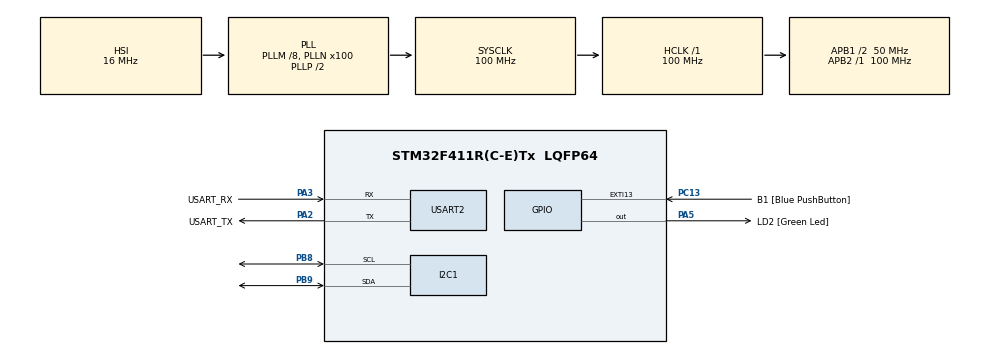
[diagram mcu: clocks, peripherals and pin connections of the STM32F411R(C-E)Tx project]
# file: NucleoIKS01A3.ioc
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I2C1.I2C_Mode=I2C_Fast
Mcu.Family=STM32F4
Mcu.Name=STM32F411R(C-E)Tx
Mcu.Package=LQFP64
NVIC.I2C1_ER_IRQn=true\:0\:0\:false\:false\:true\:true\:true\:true
NVIC.PriorityGroup=NVIC_PRIORITYGROUP_0
NVIC.TIM2_IRQn=true\:0\:0\:false\:false\:true\:true\:true\:true
PA13.GPIO_Label=TMS
PA13.Mode=Serial_Wire
PA13.Signal=SYS_JTMS-SWDIO
PA14.GPIO_Label=TCK
PA14.Mode=Serial_Wire
PA14.Signal=SYS_JTCK-SWCLK
PA2.GPIO_Label=USART_TX
PA2.Mode=Asynchronous
PA2.Signal=USART2_TX
PA3.GPIO_Label=USART_RX
PA3.Mode=Asynchronous
PA3.Signal=USART2_RX
PA5.GPIO_Label=LD2 [Green Led]
PA5.Signal=GPIO_Output
PB3.GPIO_Label=SWO
PB3.Signal=SYS_JTDO-SWO
PB8.Mode=I2C
PB8.Signal=I2C1_SCL
PB9.Mode=I2C
PB9.Signal=I2C1_SDA
PC13-ANTI_TAMP.GPIO_Label=B1 [Blue PushButton]
PC13-ANTI_TAMP.GPIO_ModeDefaultEXTI=GPIO_MODE_IT_FALLING
PC13-ANTI_TAMP.Signal=GPXTI13
PC14-OSC32_IN.Mode=LSE-External-Oscillator
PC14-OSC32_IN.Signal=RCC_OSC32_IN
PC15-OSC32_OUT.Mode=LSE-External-Oscillator
PC15-OSC32_OUT.Signal=RCC_OSC32_OUT
PH0\ -\ OSC_IN.Mode=HSE-External-Clock-Source
PH0\ -\ OSC_IN.Signal=RCC_OSC_IN
PH1\ -\ OSC_OUT.Mode=HSE-External-Clock-Source
PH1\ -\ OSC_OUT.Signal=RCC_OSC_OUT
ProjectManager.HeapSize=0x200
ProjectManager.StackSize=0x400
ProjectManager.TargetToolchain=CMake
RCC.48MHZClocksFreq_Value=50000000
RCC.AHBFreq_Value=100000000
RCC.APB1CLKDivider=RCC_HCLK_DIV2
RCC.APB1Freq_Value=50000000
RCC.APB1TimFreq_Value=100000000
RCC.APB2Freq_Value=100000000
RCC.APB2TimFreq_Value=100000000
RCC.CortexFreq_Value=100000000
RCC.FLatency-AdvancedSettings=FLASH_LATENCY_3
RCC.HCLKFreq_Value=100000000
RCC.HSE_VALUE=8000000
RCC.HSI_VALUE=16000000
RCC.PLLM=8
RCC.PLLN=100
RCC.SYSCLKFreq_VALUE=100000000
RCC.SYSCLKSource=RCC_SYSCLKSOURCE_PLLCLK
RCC.VCOOutputFreq_Value=200000000
TIM2.Prescaler=100 - 1
USART2.VirtualMode=VM_ASYNC
VP_TIM2_VS_ClockSourceINT.Mode=Internal
board=NUCLEO-F411RE

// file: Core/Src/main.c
/* USER CODE BEGIN Header */
/**
 ******************************************************************************
 * @file           : main.c
 * @brief          : Main program body
 ******************************************************************************
 * @attention
 *
 * Copyright (c) 2026 STMicroelectronics.
 * All rights reserved.
 *
 * This software is licensed under terms that can be found in the LICENSE file
 * in the root directory of this software component.
 * If no LICENSE file comes with this software, it is provided AS-IS.
 *
 ******************************************************************************
 */
/* USER CODE END Header */
#include "main.h"
#include "i2c.h"
#include "tim.h"
#include "usart.h"
#include "gpio.h"

/* USER CODE BEGIN Includes */

#include "IMU.h"
#include "Config.h"
#include "Time.h"

#include "DSP_AHRS_AQUA.h"
#include "DSP_AHRS_EKF.h"
#include "DSP_AHRS_Mahony.h"
#include "DSP_AHRS_Madgwick.h"

#include <stdio.h>
#include <stdlib.h>
#include <string.h>

/* USER CODE END Includes */

/* USER CODE BEGIN PTD */

typedef enum
{
	AHRS_FILTER_AQUA,
	AHRS_FILTER_EKF,
	AHRS_FILTER_MAHONY,
	AHRS_FILTER_MADGWICK,

	AHRS_FILTER_CNT
} AHRS_FilterType;

/* USER CODE END PTD */

/* USER CODE BEGIN PV */

static IMU_Handle himu;
static DSP_AHRS_AQUA_Instance_f32 AQUA_Filter;
static DSP_AHRS_EKF_Instance_f32 EKF_Filter;
static DSP_AHRS_DataInstance_f32 AHRS_Data;
static DSP_AHRS_Mahony_Instance_f32 Mahony_Filter;
static DSP_AHRS_Madgwick_Instance_f32 Madgwick_Filter;

static AHRS_FilterType ActiveFilter = AHRS_FILTER_AQUA;

/* USER CODE END PV */

void SystemClock_Config(void);

/* USER CODE BEGIN 0 */
void OnNewAccData(IMU_Handle* imu, uint32_t tick);
void OnNewGyroData(IMU_Handle* imu, uint32_t tick);

/* USER CODE END 0 */

int main(void)
{

	/* MCU Configuration--------------------------------------------------------*/

	/* Reset of all peripherals, Initializes the Flash interface and the Systick. */
	HAL_Init();

	/* Configure the system clock */
	SystemClock_Config();

	/* USER CODE BEGIN SysInit */

	CoreDebug->DEMCR |= CoreDebug_DEMCR_TRCENA_Msk;

	DWT->CYCCNT = 0;
	DWT->CTRL  |= DWT_CTRL_CYCCNTENA_Msk;

	/* USER CODE END SysInit */

	/* Initialize all configured peripherals */
	MX_GPIO_Init();
	MX_USART2_UART_Init();
	MX_I2C1_Init();
	MX_TIM2_Init();
	/* USER CODE BEGIN 2 */

	IMU_Init(&himu);
	IMU_CallbackSet(&himu, &OnNewAccData, &OnNewGyroData, NULL);

	// TODO: Move params to Config.h
	// clang-format off
    float gyro_noise[3 * 3] = {   // Process noise covariance
        0.01f, 0.0f, 0.0f,
        0.0f, 0.01f, 0.0f,
        0.0f, 0.0f, 0.01f
    };

    float acc_noise[3 * 3] =  {   // Process noise covariance
        0.15f, 0.0f, 0.0f,
        0.0f, 0.15f, 0.0f,
        0.0f, 0.0f, 0.15f
    };
	// clang-format on
	DSP_AHRS_EKF_InitIMU_f32(&EKF_Filter, gyro_noise, acc_noise);

	DSP_AHRS_AQUA_InitIMU_f32(&AQUA_Filter, 0.1f);

	DSP_AHRS_Mahony_Init_f32(&Mahony_Filter, 0.5f, 0.33f);

	DSP_AHRS_Madgwick_InitIMU_f32(&Madgwick_Filter, 0.033f);

	DSP_AHRS_DataInit_f32(&AHRS_Data);
	/* USER CODE END 2 */

	/* Infinite loop */
	/* USER CODE BEGIN WHILE */
	while(1)
	{
		IMU_Update(&himu, SYS_Tick_ms());

		bool b1_pressed = HAL_GPIO_ReadPin(B1_GPIO_Port, B1_Pin) == GPIO_PIN_RESET;
		if(b1_pressed)
		{
			ActiveFilter = (ActiveFilter + 1) % AHRS_FILTER_CNT;
			printf("AHRS_Filter: %d\r\n", ActiveFilter);
			HAL_Delay(500);
		}

		static uint32_t last_ahrs_tick = 0;
		if(SYS_Tick_ms() - last_ahrs_tick >= AHRS_UPDATE_INTERVAL_MS)
		{
			const uint32_t updt_start_tick = DWT->CYCCNT;
			switch(ActiveFilter)
			{
				case AHRS_FILTER_AQUA:
				{
					DSP_AHRS_AQUA_UpdateIMU_f32(&AQUA_Filter, &AHRS_Data, (AHRS_UPDATE_INTERVAL_MS / 1000.0f));
					break;
				}
				case AHRS_FILTER_EKF:
				{
					DSP_AHRS_EKF_UpdateIMU_f32(&EKF_Filter, &AHRS_Data, (AHRS_UPDATE_INTERVAL_MS / 1000.0f));
					break;
				}
				case AHRS_FILTER_MAHONY:
				{
					DSP_AHRS_Mahony_UpdateIMU_f32(&Mahony_Filter, &AHRS_Data, (AHRS_UPDATE_INTERVAL_MS / 1000.0f));
					break;
				}
				case AHRS_FILTER_MADGWICK:
				{
					DSP_AHRS_Madgwick_UpdateIMU_f32(&Madgwick_Filter, &AHRS_Data, (AHRS_UPDATE_INTERVAL_MS / 1000.0f));
					break;
				}
				default:
					break;
			}
			const uint32_t updt_end_tick = DWT->CYCCNT;

			last_ahrs_tick += AHRS_UPDATE_INTERVAL_MS;

			printf("FC_Attitude: %0.8f, %0.8f, %0.8f, %0.8f\r\n", AHRS_Data.AttitudeEstimate.r,
			  AHRS_Data.AttitudeEstimate.i, AHRS_Data.AttitudeEstimate.j, AHRS_Data.AttitudeEstimate.k);

			printf("AHRS_Updt_t: %0.8f\r\n", (float)(updt_end_tick - updt_start_tick) / SystemCoreClock * 1000.0f);
			// printf("$%0.2f %0.2f %0.2f;\r\n", AHRS_Data.GyroData[0], AHRS_Data.GyroData[1], AHRS_Data.GyroData[2]);
		}

		static uint32_t updt_cnt      = 0;
		static uint32_t last_log_tick = 0;
		const uint32_t interval_ms    = 1000;

		updt_cnt++;
		const uint32_t loop_end_tick = SYS_Tick_ms();
		if(loop_end_tick - last_log_tick >= interval_ms)
		{
			last_log_tick = loop_end_tick;

			printf("UPS: %0.2f\r\n", (float)updt_cnt / (interval_ms / 1000.0f));
			updt_cnt = 0;
		}
	}

	/* USER CODE END WHILE */

}

void SystemClock_Config(void)
{
	RCC_OscInitTypeDef RCC_OscInitStruct = {0};
	RCC_ClkInitTypeDef RCC_ClkInitStruct = {0};

	/** Configure the main internal regulator output voltage
	 */
	__HAL_RCC_PWR_CLK_ENABLE();
	__HAL_PWR_VOLTAGESCALING_CONFIG(PWR_REGULATOR_VOLTAGE_SCALE1);

	/** Initializes the RCC Oscillators according to the specified parameters
	 * in the RCC_OscInitTypeDef structure.
	 */
	RCC_OscInitStruct.OscillatorType      = RCC_OSCILLATORTYPE_HSI;
	RCC_OscInitStruct.HSIState            = RCC_HSI_ON;
	RCC_OscInitStruct.HSICalibrationValue = RCC_HSICALIBRATION_DEFAULT;
	RCC_OscInitStruct.PLL.PLLState        = RCC_PLL_ON;
	RCC_OscInitStruct.PLL.PLLSource       = RCC_PLLSOURCE_HSI;
	RCC_OscInitStruct.PLL.PLLM            = 8;
	RCC_OscInitStruct.PLL.PLLN            = 100;
	RCC_OscInitStruct.PLL.PLLP            = RCC_PLLP_DIV2;
	RCC_OscInitStruct.PLL.PLLQ            = 4;
	if(HAL_RCC_OscConfig(&RCC_OscInitStruct) != HAL_OK)
	{
		Error_Handler();
	}

	/** Initializes the CPU, AHB and APB buses clocks
	 */
	RCC_ClkInitStruct.ClockType = RCC_CLOCKTYPE_HCLK | RCC_CLOCKTYPE_SYSCLK | RCC_CLOCKTYPE_PCLK1 | RCC_CLOCKTYPE_PCLK2;
	RCC_ClkInitStruct.SYSCLKSource   = RCC_SYSCLKSOURCE_PLLCLK;
	RCC_ClkInitStruct.AHBCLKDivider  = RCC_SYSCLK_DIV1;
	RCC_ClkInitStruct.APB1CLKDivider = RCC_HCLK_DIV2;
	RCC_ClkInitStruct.APB2CLKDivider = RCC_HCLK_DIV1;

	if(HAL_RCC_ClockConfig(&RCC_ClkInitStruct, FLASH_LATENCY_3) != HAL_OK)
	{
		Error_Handler();
	}
}

/* USER CODE BEGIN 4 */

int _write(int file, char* ptr, int len)
{
	HAL_UART_Transmit(&huart2, (uint8_t*)ptr, len, HAL_MAX_DELAY);
	return len;
}

void OnNewAccData(IMU_Handle* imu, uint32_t tick)
{
	DSP_AHRS_UpdateAccData_f32(&AHRS_Data, imu->Acc);
}

void OnNewGyroData(IMU_Handle* imu, uint32_t tick)
{
	DSP_AHRS_UpdateGyroData_f32(&AHRS_Data, imu->Gyro);
}

/* USER CODE END 4 */

void Error_Handler(void)
{
	__disable_irq();
	while(1)
	{
	}
}
